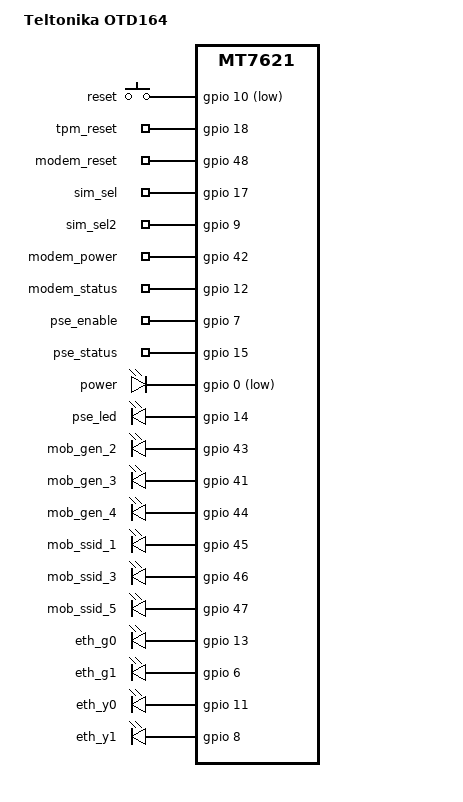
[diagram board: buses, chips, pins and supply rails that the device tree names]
#include "mt7621-teltonika-common.dtsi"
#include "mt7621-teltonika-otd16x-flash.dtsi"
#include "common-mt7621/tpm.dtsi"

/ {
	compatible = "teltonika,otd16x", "mediatek,mt7621-soc";
	model = "Teltonika OTD164";

	keys {
		compatible = "gpio-keys";

		reset {
			label = "reset";
			gpios = <&gpio 10 GPIO_ACTIVE_LOW>;
			linux,code = <KEY_RESTART>;
		};
	};

	gpio-export {
		compatible = "gpio-export";
		#size-cells = <0>;

		gpio_tpm_reset {
			gpio-export,name = "tpm_reset";
			gpio-export,output = <1>;
			gpios = <&gpio 18 GPIO_ACTIVE_HIGH>;
		};

		gpio_modem_reset {
			gpio-export,name = "modem_reset";
			gpio-export,output = <0>;
			gpios = <&gpio 48 GPIO_ACTIVE_HIGH>;
		};

		gpio_sim_select {
			gpio-export,name = "sim_sel";
			gpio-export,output = <0>;
			gpios = <&gpio 17 GPIO_ACTIVE_HIGH>;
		};

		gpio_sim_select_2 {
			gpio-export,name = "sim_sel2";
			gpio-export,output = <0>;
			gpios = <&gpio 9 GPIO_ACTIVE_HIGH>;
		};

		gpio_modem_power {
			gpio-export,name = "modem_power";
			gpio-export,output = <1>;
			gpios = <&gpio 42 GPIO_ACTIVE_HIGH>;
		};

		gpio_modem_status {
			gpio-export,name = "modem_status";
			gpio-export,input = <0>;
			gpios = <&gpio 12 GPIO_ACTIVE_HIGH>;
		};

		pse_enable {
			gpio-export,name = "pse_enable";
			gpio-export,output = <1>;
			gpios = <&gpio 7 GPIO_ACTIVE_HIGH>;
		};

		pse_status {
			gpio-export,name = "pse_status";
			gpio-export,input = <0>;
			gpios = <&gpio 15 GPIO_ACTIVE_HIGH>;
		};
	};

	leds {
		compatible = "gpio-leds";

		led_power {
			label = "power";
			gpios = <&gpio 0 GPIO_ACTIVE_LOW>;
			default-state = "on";
			retain-state-shutdown;
		};

		pse_led {
			label = "pse_led";
			gpios = <&gpio 14 GPIO_ACTIVE_HIGH>;
		};

		led_gen_2 {
			label = "mob_gen_2";
			gpios = <&gpio 43 GPIO_ACTIVE_HIGH>;
		};

		led_gen_3 {
			label = "mob_gen_3";
			gpios = <&gpio 41 GPIO_ACTIVE_HIGH>;
		};

		led_gen_4 {
			label = "mob_gen_4";
			gpios = <&gpio 44 GPIO_ACTIVE_HIGH>;
		};

		led_ssid_1 {
			label = "mob_ssid_1";
			gpios = <&gpio 45 GPIO_ACTIVE_HIGH>;
			linux,default-trigger = "timer";
		};

		led_ssid_3 {
			label = "mob_ssid_3";
			gpios = <&gpio 46 GPIO_ACTIVE_HIGH>;
			linux,default-trigger = "timer";
		};

		led_ssid_5 {
			label = "mob_ssid_5";
			gpios = <&gpio 47 GPIO_ACTIVE_HIGH>;
			linux,default-trigger = "timer";
		};

		led_eth_g0 {
			label = "eth_g0";
			gpios = <&gpio 13 GPIO_ACTIVE_HIGH>;
		};

		led_eth_g1 {
			label = "eth_g1";
			gpios = <&gpio 6 GPIO_ACTIVE_HIGH>;
		};

		led_eth_y0 {
			label = "eth_y0";
			gpios = <&gpio 11 GPIO_ACTIVE_HIGH>;
		};

		led_eth_y1 {
			label = "eth_y1";
			gpios = <&gpio 8 GPIO_ACTIVE_HIGH>;
		};
	};

	tlt_gpios {
		gpiochip_info {
			hw_0 {
				hwver = <0>;
				gpiochip_count = <3>;

				gpiochip_0 = <32>;
				gpiochip_1 = <32>;
				gpiochip_2 = <32>;
			};
		};

		poeman {
			GPIO_7 {
				line_name = "PSE_ENABLE";
			};
			GPIO_15 {
				line_name = "PSE_STATUS";
			};
		};

		misc {
			GPIO_18 {
				line_name = "GPIO_TPM_RESET";
			};
			GPIO_48 {
				line_name = "GPIO_MODEM_RESET_1";
			};
			GPIO_42 {
				line_name = "GPIO_MODEM_POWER_1";
			};
			GPIO_12 {
				line_name = "GPIO_MODEM_STATUS";
			};
			GPIO_17 {
				line_name = "GPIO_SIM_SELECT_1";
			};
			GPIO_9 {
				line_name = "GPIO_SIM_SELECT_2";
			};
		};
	};

	poeman {
		bus = "/dev/i2c-0";
		budget@0 {
			budget = <15500>;
			max_port_power = <15400>;
			allowed_deficit = <600>;
		};
	};
};

&state_default {
	gpio {
		groups = "wdt", "jtag", "sdhci", "uart2", "uart3";
		function = "gpio";
	};
};

&switch0 {
	ports {
		port@3 {
			status = "okay";
			label = "lan2";
		};

		port@4 {
			status = "okay";
			label = "lan1";
		};
	};
};

&mnfinfo {
	sim_cfg {
		default = "2111100_2112000_2121200";
	};
};
